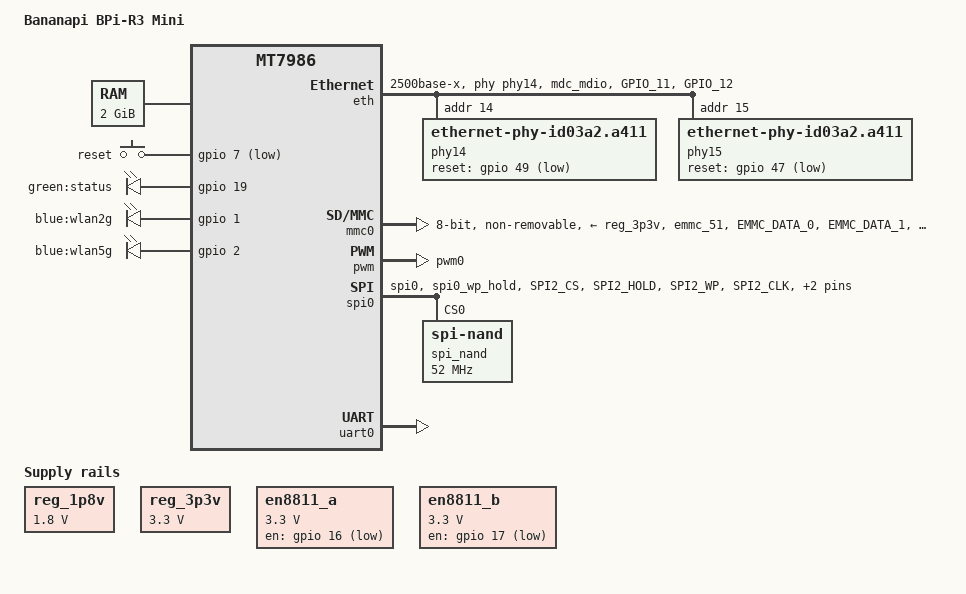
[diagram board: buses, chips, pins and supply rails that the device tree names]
// SPDX-License-Identifier: GPL-2.0-or-later

/dts-v1/;
#include "mt7986.dtsi"
#include <dt-bindings/gpio/gpio.h>

/ {
	#address-cells = <1>;
	#size-cells = <1>;
	model = "Bananapi BPi-R3 Mini";
	compatible = "mediatek,mt7986", "mediatek,mt7986-rfb";

	chosen {
		stdout-path = &uart0;
		tick-timer = &timer0;
	};

	memory@40000000 {
		device_type = "memory";
		reg = <0x40000000 0x80000000>;
	};
	
	mtd-layout {
		layout@0 {
			label = "default";
			cmdline = "console=ttyS0,115200n1 loglevel=8 earlycon=uart8250,mmio32,0x11002000";
			mtdids = "nmbm0=nmbm0";
			mtdparts = "nmbm0:1024k(bl2),512k(u-boot-env),2048k(zerofact0ry),2048k(fip),65536k(ubi)";
		};

		layout@1 {
			label = "ubi-108m";
			mtdids = "nmbm0=nmbm0";
			mtdparts = "nmbm0:1024k(bl2),512k(u-boot-env),2048k(zerofact0ry),2048k(fip),110592k(ubi)";
		};
	};
	
	gpio-keys {
		compatible = "gpio-keys";

		reset-key {
			label = "reset";
			linux,code = <KEY_RESTART>;
			gpios = <&gpio 7 GPIO_ACTIVE_LOW>;
		};
	};

	leds {
		compatible = "gpio-leds";

		status_led: led-0 {
			label = "green:status";
			gpios = <&gpio 19 GPIO_ACTIVE_HIGH>;
		};

		led-1 {
			label = "blue:wlan2g";
			gpios = <&gpio 1 GPIO_ACTIVE_HIGH>;
		};

		led-2 {
			label = "blue:wlan5g";
			gpios = <&gpio 2 GPIO_ACTIVE_HIGH>;
		};
	};

	reg_1p8v: regulator-1p8v {
		compatible = "regulator-fixed";
		regulator-name = "fixed-1.8V";
		regulator-min-microvolt = <1800000>;
		regulator-max-microvolt = <1800000>;
		regulator-boot-on;
		regulator-always-on;
	};

	reg_3p3v: regulator-3p3v {
		compatible = "regulator-fixed";
		regulator-name = "fixed-3.3V";
		regulator-min-microvolt = <3300000>;
		regulator-max-microvolt = <3300000>;
		regulator-boot-on;
		regulator-always-on;
	};
	
	en8811_a: regulator-phy1 {
		compatible = "regulator-fixed";
		regulator-name = "phy1";
		regulator-min-microvolt = <3300000>;
		regulator-max-microvolt = <3300000>;
		gpio = <&gpio 16 GPIO_ACTIVE_LOW>;
		enable-active-low;
		regulator-boot-on;
		regulator-always-on;
	};

	en8811_b: regulator-phy2 {
		compatible = "regulator-fixed";
		regulator-name = "phy2";
		regulator-min-microvolt = <3300000>;
		regulator-max-microvolt = <3300000>;
		gpio = <&gpio 17 GPIO_ACTIVE_LOW>;
		enable-active-low;
		regulator-boot-on;
		regulator-always-on;
	};
};

&eth {
	status = "okay";
	pinctrl-names = "default";
	pinctrl-0 = <&mdio_pins>;//, <&en8811_pwr_a>;

	mediatek,gmac-id = <0>;
	phy-mode = "2500base-x";
	phy-handle = <&phy14>;

	phy14: eth-phy@14 {
		compatible = "ethernet-phy-id03a2.a411";
		reg = <14>;

		airoha,rx-pol-reverse;

		reset-gpios = <&gpio 49 GPIO_ACTIVE_LOW>;
		reset-assert-us = <10000>;
		reset-deassert-us = <20000>;
	};

	phy15: eth-phy@15 {
		compatible = "ethernet-phy-id03a2.a411";
		reg = <15>;

		airoha,rx-pol-reverse;

		reset-gpios = <&gpio 47 GPIO_ACTIVE_LOW>;
		reset-assert-us = <10000>;
		reset-deassert-us = <20000>;
	};
};

&mmc0 {
	pinctrl-names = "default";
	pinctrl-0 = <&mmc0_pins_default>;
	bus-width = <8>;
	max-frequency = <200000000>;
	cap-mmc-highspeed;
	cap-mmc-hw-reset;
	vmmc-supply = <&reg_3p3v>;
	vqmmc-supply = <&reg_1p8v>;
	non-removable;
	status = "okay";
};

&pinctrl {
	mdio_pins: mdio-pins {
		mux {
			function = "eth";
			groups = "mdc_mdio";
		};

		conf-en8811-pwr-a {
			pins = "GPIO_11";
			drive-strength = <MTK_DRIVE_8mA>;
			bias-pull-down = <MTK_PUPD_SET_R1R0_11>;
			output-low;
		};

		conf-en8811-pwr-b {
			pins = "GPIO_12";
			drive-strength = <MTK_DRIVE_8mA>;
			bias-pull-down = <MTK_PUPD_SET_R1R0_11>;
			output-low;
		};
	};
	
	mmc0_pins_default: mmc0default {
		mux {
			function = "flash";
			groups =  "emmc_51";
		};

		conf-cmd-dat {
			pins = "EMMC_DATA_0", "EMMC_DATA_1", "EMMC_DATA_2",
			       "EMMC_DATA_3", "EMMC_DATA_4", "EMMC_DATA_5",
			       "EMMC_DATA_6", "EMMC_DATA_7", "EMMC_CMD";
			input-enable;
			drive-strength = <MTK_DRIVE_4mA>;
			bias-pull-up = <MTK_PUPD_SET_R1R0_01>;
		};

		conf-clk {
			pins = "EMMC_CK";
			drive-strength = <MTK_DRIVE_6mA>;
			bias-pull-down = <MTK_PUPD_SET_R1R0_10>;
		};

		conf-dsl {
			pins = "EMMC_DSL";
			bias-pull-down = <MTK_PUPD_SET_R1R0_10>;
		};

		conf-rst {
			pins = "EMMC_RSTB";
			drive-strength = <MTK_DRIVE_4mA>;
			bias-pull-up = <MTK_PUPD_SET_R1R0_01>;
		};
	};

	spi_flash_pins: spi0-pins-func-1 {
		mux {
			function = "flash";
			groups = "spi0", "spi0_wp_hold";
		};

		conf-pu {
			pins = "SPI2_CS", "SPI2_HOLD", "SPI2_WP";
			drive-strength = <MTK_DRIVE_8mA>;
			bias-pull-up = <MTK_PUPD_SET_R1R0_11>;
		};

		conf-pd {
			pins = "SPI2_CLK", "SPI2_MOSI", "SPI2_MISO";
			drive-strength = <MTK_DRIVE_8mA>;
			bias-pull-down = <MTK_PUPD_SET_R1R0_11>;
		};
	};

	pwm_pins: pwm0-pins-func-1 {
		mux {
			function = "pwm";
			groups = "pwm0";
		};
	};
};

&pwm {
	pinctrl-names = "default";
	pinctrl-0 = <&pwm_pins>;
	status = "okay";
};

&spi0 {
	#address-cells = <1>;
	#size-cells = <0>;
	pinctrl-names = "default";
	pinctrl-0 = <&spi_flash_pins>;
	status = "okay";
	must_tx;
	enhance_timing;
	dma_ext;
	ipm_design;
	support_quad;
	tick_dly = <1>;
	sample_sel = <0>;

	spi_nand@0 {
		compatible = "spi-nand";
		reg = <0>;
		spi-max-frequency = <52000000>;
	};

};

&uart0 {
	status = "okay";
};

&watchdog {
	status = "disabled";
};
